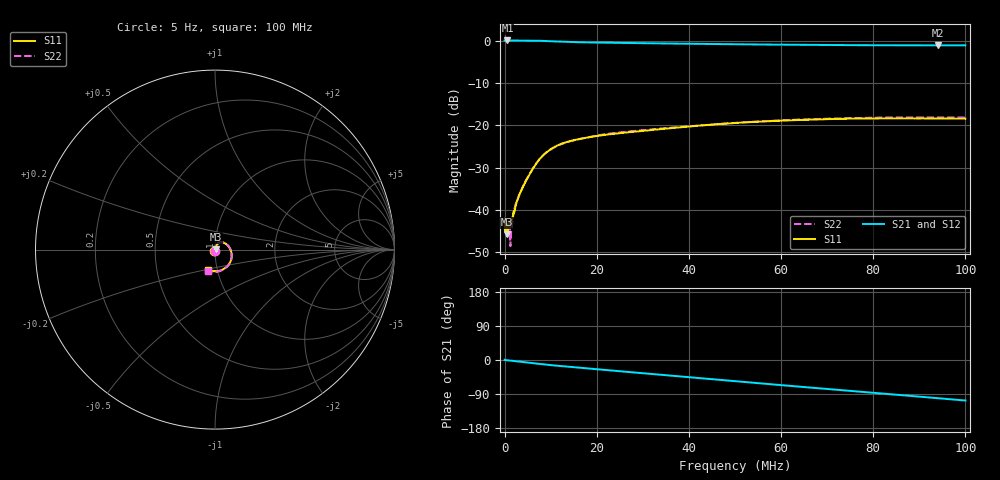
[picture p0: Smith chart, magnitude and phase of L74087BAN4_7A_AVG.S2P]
!Agilent Technologies,E5061B,MY49102235,A.02.00
!Date: Tue Jul 11 16:18:01 2023
!Data & Calibration Information:
!Freq	S11:SOLT2(ON)	S21:SOLT2(ON)	S12:SOLT2(ON)	S22:SOLT2(ON)
# Hz S RI R 50
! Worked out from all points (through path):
!   1600 points, 5 Hz to 100 MHz, reference 50 ohm
!   highest |S21| = 0.02 dB at 625.4 kHz (marker M1); lowest = -1.1 dB at 94 MHz (marker M2)
!   group delay of S21, straight-line fit = 2.91 ns
!   lowest |S11| = -45.7 dB at 500.3 kHz (marker M3), VSWR 1.01, Z = 50.5 + j0.235 ohm
!   |S11| at or under -10 dB: start of sweep to end of sweep
!   |S22| runs from -48.5 to -18.1 dB; largest |S21 - S12| = 0.0025
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5  -0.00528 -0.00564  1.002 0.00807  1 0.0102  -0.00149 -0.00755
500317.7  0.00466 0.00233  1.001 -0.0105  1.002 -0.0104  0.00487 0.000733
625395.8  0.0052 0.00284  1.002 -0.0139  1.002 -0.0135  0.00621 0.00246
1000630  0.00398 0.00477  1.001 -0.0219  1.001 -0.0217  0.00536 0.00384
1313326  0.00482 0.00505  1.001 -0.0287  1.001 -0.0289  0.00303 0.00351
1688560  0.00434 0.00663  0.9999 -0.0385  1.001 -0.0387  0.00408 0.0058
2063795  0.00384 0.00902  1.001 -0.0474  1 -0.0478  0.00427 0.00883
2376490  0.00423 0.0102  0.9989 -0.0544  0.9994 -0.0549  0.00488 0.0105
3377116  0.00604 0.0149  0.9973 -0.0778  0.9971 -0.0781  0.00487 0.015
5128210  0.00845 0.0234  0.9924 -0.1195  0.9922 -0.1194  0.0079 0.0236
7504695  0.0173 0.0351  0.9777 -0.1764  0.9776 -0.1766  0.017 0.0359
9068172  0.0266 0.0398  0.9634 -0.2106  0.9633 -0.2104  0.0262 0.0401
1.100688e7  0.0388 0.0408  0.9441 -0.2477  0.9438 -0.2475  0.0379 0.0409
1.313321e7  0.0499 0.0381  0.9233 -0.2838  0.9231 -0.2835  0.0489 0.0382
1.669794e7  0.0627 0.0303  0.8912 -0.3396  0.8911 -0.3395  0.0625 0.0305
2.332708e7  0.0775 0.0154  0.8321 -0.4394  0.8319 -0.4394  0.0792 0.0143
3.333334e7  0.0891 -0.00957  0.7248 -0.5764  0.7248 -0.5762  0.0904 -0.0105
5.003127e7  0.0897 -0.0574  0.5053 -0.7501  0.5052 -0.75  0.0898 -0.0582
6.672921e7  0.0592 -0.1006  0.2574 -0.8495  0.2576 -0.8495  0.0604 -0.1018
8.33646e7  0.0126 -0.1201  0.000687 -0.8792  0.00063 -0.8793  0.013 -0.1229
9.399625e7  -0.0195 -0.1187  -0.164 -0.8622  -0.1641 -0.8622  -0.0195 -0.1224
1e8  -0.0363 -0.1141  -0.2555 -0.8401  -0.2554 -0.8402  -0.0367 -0.1175
